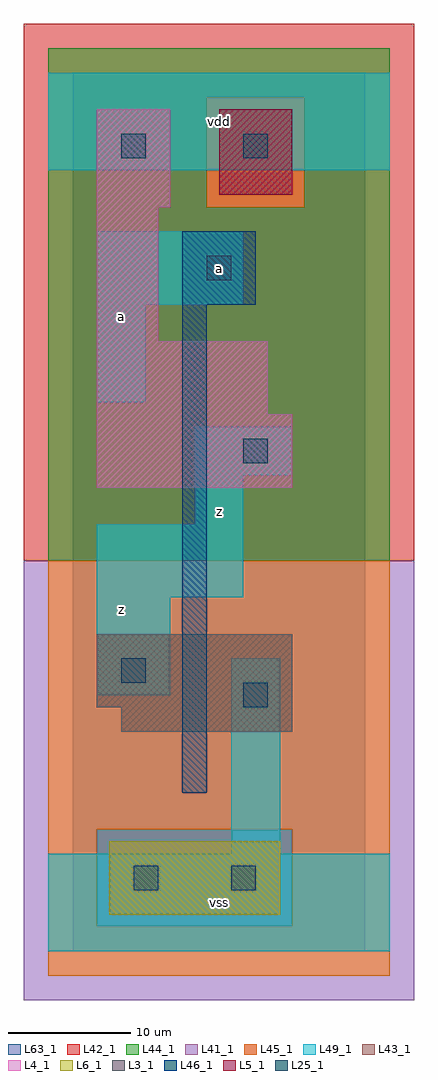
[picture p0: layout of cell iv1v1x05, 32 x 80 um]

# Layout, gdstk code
import gdstk
lib = gdstk.Library(unit=1e-6, precision=1e-09)
def R(c, l, rs):  # rectangles x0, y0, x1, y1
    for r in rs: c.add(gdstk.rectangle(r[:2], r[2:], *l))
L3_1 = (3, 1)
L4_1 = (4, 1)
L5_1 = (5, 1)
L6_1 = (6, 1)
L25_1 = (25, 1)
L41_1 = (41, 1)
L42_1 = (42, 1)
L43_1 = (43, 1)
L44_1 = (44, 1)
L45_1 = (45, 1)
L46_1 = (46, 1)
L49_1 = (49, 1)
L63_1 = (63, 1)

iv1v1x05 = lib.new_cell('iv1v1x05')
R(iv1v1x05, L3_1, [(4,18,18,20), (2,20,18,26)])
R(iv1v1x05, L4_1, [(2,38,18,44), (2,44,16,50), (2,50,7,61), (2,61,8,69)])
R(iv1v1x05, L5_1, [(12,62,18,69)])
R(iv1v1x05, L6_1, [(3,3,17,9), (3,3,17,9)])
R(iv1v1x05, L25_1, [(5,5,7,7), (13,5,15,7), (14,20,16,22), (4,22,6,24), (14,40,16,42), (11,55,13,57), (4,65,6,67), (14,65,16,67)])
R(iv1v1x05, L41_1, [(-4,-4,28,32)])
R(iv1v1x05, L42_1, [(-4,32,28,76)])
R(iv1v1x05, L43_1, [(3,3,17,9), (4,18,18,20), (2,20,18,26), (2,38,18,44), (2,44,16,50), (2,50,7,61), (2,61,8,69), (12,62,18,69)])
R(iv1v1x05, L44_1, [(2,2,18,10), (-2,32,26,61), (-2,61,11,70), (19,61,26,70), (-2,70,26,74)])
R(iv1v1x05, L45_1, [(-2,-2,26,2), (-2,2,2,10), (18,2,26,10), (-2,10,26,32), (11,61,19,70)])
R(iv1v1x05, L46_1, [(9,13,11,53), (9,53,15,59)])
R(iv1v1x05, L49_1, [(-2,0,26,8), (13,8,17,24), (2,21,8,29), (2,29,14,35), (10,35,14,39), (10,39,18,43), (2,45,6,53), (2,53,14,59), (-2,64,26,72)])
R(iv1v1x05, L63_1, [(0,0,24,72)])
iv1v1x05.add(gdstk.Label('z', (4,28), layer=49, texttype=1))
iv1v1x05.add(gdstk.Label('a', (4,52), layer=49, texttype=1))
iv1v1x05.add(gdstk.Label('vss', (12,4), layer=49, texttype=1))
iv1v1x05.add(gdstk.Label('z', (12,36), layer=49, texttype=1))
iv1v1x05.add(gdstk.Label('a', (12,56), layer=49, texttype=1))
iv1v1x05.add(gdstk.Label('vdd', (12,68), layer=49, texttype=1))

lib.write_gds('iv1v1x05.gds')
